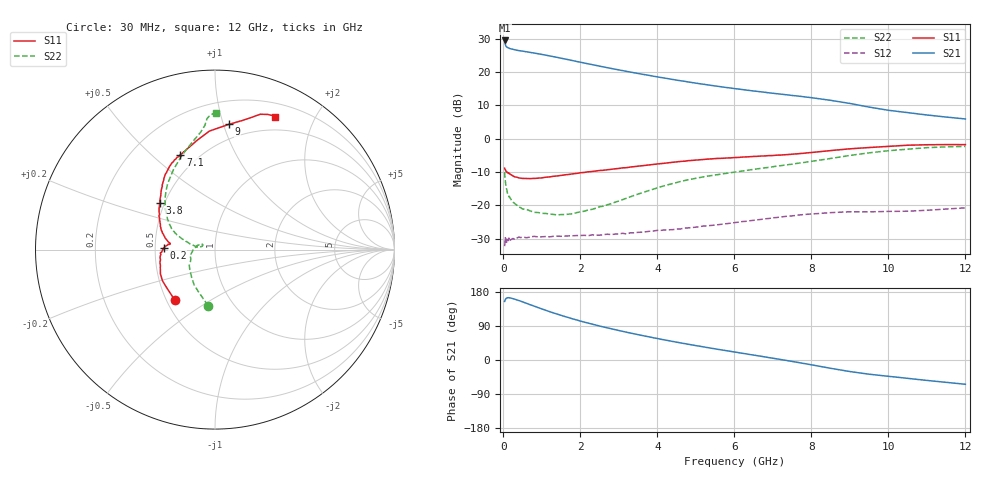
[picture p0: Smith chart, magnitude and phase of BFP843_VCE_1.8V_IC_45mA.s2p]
! Infineon Technologies  Discrete & RF Semiconductors
! BFP843
! VCE =  1.8 V,  IC =  45 mA
! Common Emitter S-Parameters:  Aug 2013
# GHz  S  MA  R  50
!  f  S11  S21  S12  S22
! GHz  MAG  ANG  MAG  ANG  MAG  ANG  MAG  ANG
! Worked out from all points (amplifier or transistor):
!   103 points, 30 MHz to 12 GHz, reference 50 ohm
!   highest |S21| = 29.5 dB at 30 MHz (marker M1)
!   |S21| within 3 dB of that: start of sweep to 379.1 MHz
!   unconditionally stable (mu >= 1): 70.08 MHz to 10.25 GHz
!   at 400 MHz: K = 1.04, MAG = 26.8 dB, |S12| = -29.6 dB
!   at 3.7 GHz: K = 1.36, MAG = 20.0 dB, |S12| = -28.0 dB
!   at 12 GHz: K = 0.83, MSG = 13.3 dB, |S12| = -20.8 dB
!   S11 on the Smith chart (normalised r, x): 30 MHz: 0.55, -0.36; 200 MHz: 0.55, +0.01; 3.8 GHz: 0.47, +0.29; 7.1 GHz: 0.40, +0.62; 9 GHz: 0.38, +1.04; 12 GHz: 0.35, +1.50
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0.03  0.3595 -128.5  29.68 154.6  0.0243 23.6  0.3144 -97.0
0.04  0.3428 -141.8  27.05 157.0  0.0275 21.5  0.2547 -110.7
0.05  0.3405 -149.0  25.73 160.2  0.0326 10.6  0.2285 -120.6
0.07  0.3213 -161.5  24.12 162.7  0.0279 6.3  0.1833 -138.7
0.1  0.3084 -169.8  23.34 164.2  0.028 11.7  0.1542 -153.1
0.13  0.3031 -174.8  22.94 164.6  0.0295 11.2  0.1428 -164.4
0.2  0.2867 178.2  22.12 163.3  0.0306 10.2  0.1212 -179.7
0.7  0.2511 172.5  19.62 145.7  0.0335 6.7  0.0821 157.6
1.1  0.2631 170.7  17.85 131.1  0.0339 8.0  0.0752 157.4
1.6  0.2859 166.7  15.64 114.6  0.0344 8.4  0.0725 163.8
2.1  0.3108 161.3  13.61 100.0  0.0354 10.5  0.0813 169.0
2.5  0.332 156.6  12.2 89.6  0.0355 11.5  0.0949 171.2
2.9  0.3517 151.4  10.99 80.1  0.0369 13.2  0.1111 170.4
3.8  0.4037 139.8  8.845 60.7  0.0407 16.4  0.1677 164.3
4.1  0.4219 136.1  8.237 54.6  0.042 17.5  0.1904 162.0
5  0.4757 127.4  6.797 38.0  0.0469 18.6  0.2539 155.8
6.1  0.5215 119.7  5.544 19.5  0.0557 18.0  0.32 146.3
7.1  0.5637 110.0  4.715 3.0  0.0654 13.6  0.3856 136.2
8.5  0.6611 92.7  3.748 -21.9  0.0774 2.6  0.5031 117.3
9  0.702 83.7  3.368 -30.5  0.0798 -1.8  0.5584 109.1
10.5  0.7952 71.5  2.453 -48.4  0.0813 -9.9  0.6935 94.7
12  0.8119 65.5  1.97 -64.1  0.0913 -17.1  0.7638 89.6
